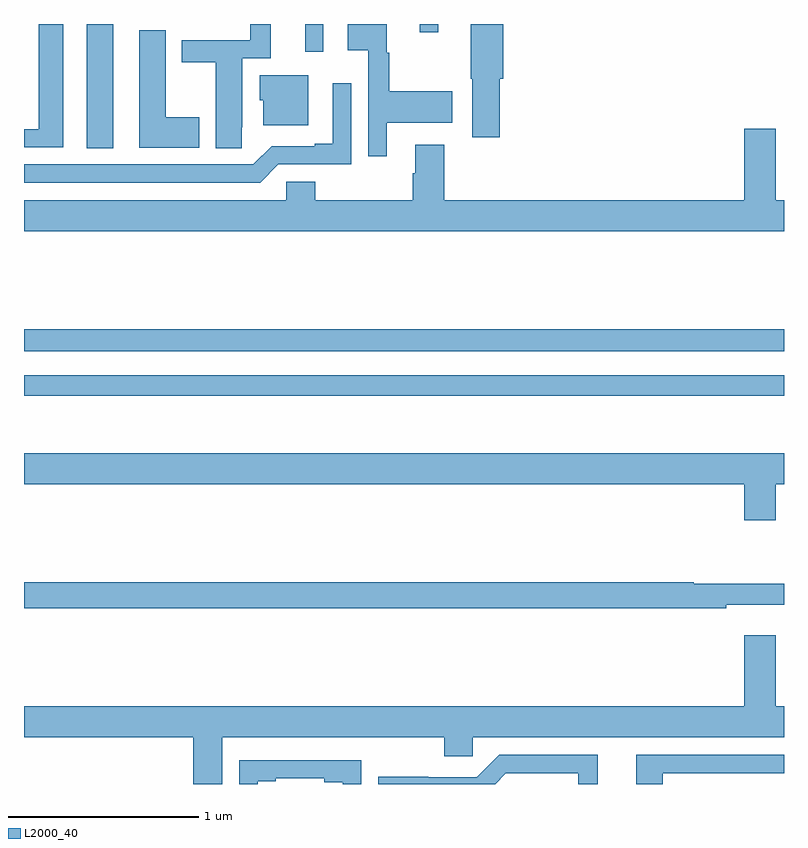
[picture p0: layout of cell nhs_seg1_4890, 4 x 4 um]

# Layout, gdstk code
import gdstk
lib = gdstk.Library(unit=1e-6, precision=1e-09)
def R(c, l, rs):  # rectangles x0, y0, x1, y1
    for r in rs: c.add(gdstk.rectangle(r[:2], r[2:], *l))
def P(c, l, *ps):  # polygons
    for p in ps: c.add(gdstk.Polygon(p, *l))
L2000_40 = (2000, 40)

nhs_seg1_4890 = lib.new_cell('nhs_seg1_4890')
R(nhs_seg1_4890, L2000_40, [(377,508.242,381,508.35), (377,508.476,381,508.592), (377.33,509.545,377.47,510.199), (378.479,510.054,378.576,510.199), (379.082,510.156,379.18,510.199)])
P(nhs_seg1_4890, L2000_40, [(377.206,510.199),(377.078,510.199),(377.078,509.646),(377,509.646),(377,509.55),(377.206,509.55)],
  [(378.91,509.678),(379.255,509.678),(379.255,509.844),(378.922,509.844),(378.922,510.048),(378.91,510.048),(378.91,510.199),(378.704,510.199),(378.704,510.062),(378.813,510.062),(378.813,509.502),(378.91,509.502)],
  [(378.147,509.656),(378.148,509.656),(378.148,510.018),(378.299,510.018),(378.299,510.199),(378.19,510.199),(378.19,510.114),(377.831,510.114),(377.831,509.998),(378.008,509.998),(378.008,509.545),(378.147,509.545)],
  [(379.505,509.91),(379.523,509.91),(379.523,510.199),(379.352,510.199),(379.352,509.91),(379.358,509.91),(379.358,509.604),(379.505,509.604)],
  [(377.923,509.709),(377.746,509.709),(377.746,510.167),(377.607,510.167),(377.607,510.059),(377.606,510.059),(377.606,509.549),(377.923,509.549)],
  [(378.496,509.929),(378.242,509.929),(378.242,509.799),(378.26,509.799),(378.26,509.666),(378.496,509.666)],
  [(378.339,509.46),(378.723,509.46),(378.723,509.887),(378.626,509.887),(378.626,509.569),(378.53,509.569),(378.53,509.556),(378.303,509.556),(378.207,509.46),(377,509.46),(377,509.364),(378.243,509.364)],
  [(381,509.272),(380.956,509.272),(380.956,509.647),(380.792,509.647),(380.792,509.272),(379.211,509.272),(379.211,509.563),(379.058,509.563),(379.058,509.414),(379.046,509.414),(379.046,509.272),(378.533,509.272),(378.533,509.37),(378.381,509.37),(378.381,509.272),(377,509.272),(377,509.108),(381,509.108)],
  [(380.956,507.776),(381,507.776),(381,507.94),(377,507.94),(377,507.776),(380.792,507.776),(380.792,507.588),(380.956,507.588)],
  [(380.696,507.143),(381,507.143),(381,507.253),(380.524,507.253),(380.524,507.26),(377,507.26),(377,507.124),(380.696,507.124)],
  [(378.043,506.444),(379.211,506.444),(379.211,506.346),(379.362,506.346),(379.362,506.444),(381,506.444),(381,506.608),(380.956,506.608),(380.956,506.983),(380.792,506.983),(380.792,506.608),(377,506.608),(377,506.444),(377.891,506.444),(377.891,506.199),(378.043,506.199)],
  [(379.536,506.256),(379.916,506.256),(379.916,506.199),(380.02,506.199),(380.02,506.352),(379.5,506.352),(379.383,506.235),(379.127,506.235),(379.127,506.237),(378.864,506.237),(378.864,506.199),(379.479,506.199)],
  [(380.362,506.256),(381,506.256),(381,506.352),(380.222,506.352),(380.222,506.199),(380.362,506.199)],
  [(378.229,506.214),(378.325,506.214),(378.325,506.229),(378.581,506.229),(378.581,506.209),(378.677,506.209),(378.677,506.199),(378.774,506.199),(378.774,506.325),(378.132,506.325),(378.132,506.199),(378.229,506.199)])

lib.write_gds('nhs_seg1_4890.gds')
